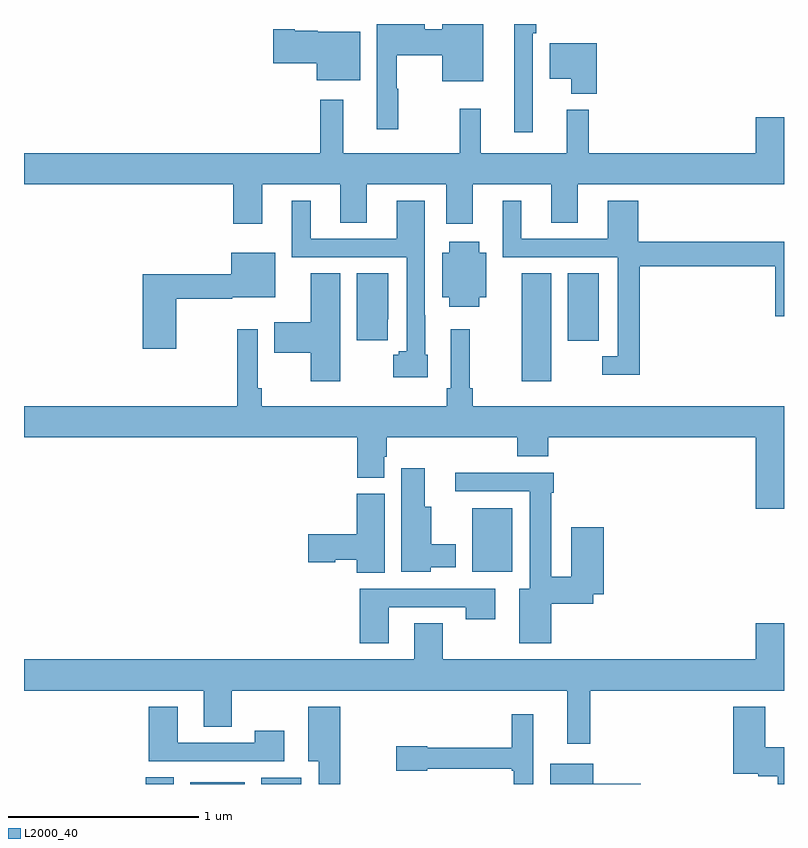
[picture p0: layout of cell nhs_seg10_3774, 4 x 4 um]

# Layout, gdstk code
import gdstk
lib = gdstk.Library(unit=1e-6, precision=1e-09)
def R(c, l, rs):  # rectangles x0, y0, x1, y1
    for r in rs: c.add(gdstk.rectangle(r[:2], r[2:], *l))
def P(c, l, *ps):  # polygons
    for p in ps: c.add(gdstk.Polygon(p, *l))
L2000_40 = (2000, 40)

nhs_seg10_3774 = lib.new_cell('nhs_seg10_3774')
R(nhs_seg10_3774, L2000_40, [(317.642,1290.5,317.788,1290.536), (317.876,1290.5,318.163,1290.508), (318.248,1290.5,318.46,1290.532), (319.358,1291.616,319.57,1291.951), (319.619,1292.619,319.774,1293.188), (319.862,1292.832,320.026,1293.188)])
P(nhs_seg10_3774, L2000_40, [(318.971,1294.158),(318.961,1294.158),(318.961,1294.336),(319.202,1294.336),(319.202,1294.199),(319.417,1294.199),(319.417,1294.5),(319.202,1294.5),(319.202,1294.472),(319.108,1294.472),(319.108,1294.5),(318.857,1294.5),(318.857,1293.945),(318.971,1293.945)],
  [(319.677,1294.451),(319.697,1294.451),(319.697,1294.5),(319.58,1294.5),(319.58,1293.93),(319.677,1293.93)],
  [(318.769,1294.459),(318.546,1294.459),(318.546,1294.465),(318.424,1294.465),(318.424,1294.472),(318.312,1294.472),(318.312,1294.294),(318.542,1294.294),(318.542,1294.205),(318.769,1294.205)],
  [(320.015,1294.399),(319.766,1294.399),(319.766,1294.211),(319.88,1294.211),(319.88,1294.133),(320.015,1294.133)],
  [(318.253,1293.656),(318.665,1293.656),(318.665,1293.454),(318.805,1293.454),(318.805,1293.656),(319.223,1293.656),(319.223,1293.45),(319.363,1293.45),(319.363,1293.656),(319.775,1293.656),(319.775,1293.454),(319.915,1293.454),(319.915,1293.656),(321,1293.656),(321,1294.009),(320.852,1294.009),(320.852,1293.82),(319.973,1293.82),(319.973,1294.048),(319.856,1294.048),(319.856,1293.82),(319.403,1293.82),(319.403,1294.054),(319.293,1294.054),(319.293,1293.82),(318.679,1293.82),(318.679,1294.102),(318.558,1294.102),(318.558,1293.82),(317,1293.82),(317,1293.656),(318.101,1293.656),(318.101,1293.45),(318.253,1293.45)],
  [(320.24,1293.226),(320.954,1293.226),(320.954,1292.961),(321,1292.961),(321,1293.355),(320.234,1293.355),(320.234,1293.571),(320.072,1293.571),(320.072,1293.369),(319.618,1293.369),(319.618,1293.571),(319.52,1293.571),(319.52,1293.273),(320.124,1293.273),(320.124,1292.751),(320.043,1292.751),(320.043,1292.654),(320.24,1292.654)],
  [(319.126,1292.76),(319.111,1292.76),(319.111,1292.966),(319.11,1292.966),(319.11,1293.571),(318.962,1293.571),(318.962,1293.369),(318.508,1293.369),(318.508,1293.571),(318.41,1293.571),(318.41,1293.273),(319.014,1293.273),(319.014,1292.778),(318.972,1292.778),(318.972,1292.759),(318.943,1292.759),(318.943,1292.642),(319.126,1292.642)],
  [(319.396,1293.062),(319.432,1293.062),(319.432,1293.295),(319.396,1293.295),(319.396,1293.355),(319.238,1293.355),(319.238,1293.295),(319.202,1293.295),(319.202,1293.062),(319.238,1293.062),(319.238,1293.011),(319.396,1293.011)],
  [(317.802,1293.055),(318.096,1293.055),(318.096,1293.062),(318.322,1293.062),(318.322,1293.295),(318.092,1293.295),(318.092,1293.184),(317.624,1293.184),(317.624,1292.79),(317.802,1292.79)],
  [(318.664,1293.188),(318.509,1293.188),(318.509,1292.929),(318.316,1292.929),(318.316,1292.771),(318.509,1292.771),(318.509,1292.619),(318.664,1292.619)],
  [(318.914,1292.947),(318.916,1292.947),(318.916,1293.188),(318.752,1293.188),(318.752,1292.835),(318.914,1292.835)],
  [(319.346,1292.584),(319.346,1292.893),(319.245,1292.893),(319.245,1292.584),(319.225,1292.584),(319.225,1292.488),(318.251,1292.488),(318.251,1292.584),(318.231,1292.584),(318.231,1292.893),(318.123,1292.893),(318.123,1292.488),(317,1292.488),(317,1292.324),(318.755,1292.324),(318.755,1292.113),(318.895,1292.113),(318.895,1292.223),(318.908,1292.223),(318.908,1292.324),(319.595,1292.324),(319.595,1292.225),(319.76,1292.225),(319.76,1292.324),(320.852,1292.324),(320.852,1291.95),(321,1291.95),(321,1292.488),(319.361,1292.488),(319.361,1292.584)],
  [(319.14,1291.64),(319.273,1291.64),(319.273,1291.762),(319.144,1291.762),(319.144,1291.96),(319.108,1291.96),(319.108,1292.161),(318.986,1292.161),(318.986,1291.616),(319.14,1291.616)],
  [(319.774,1291.45),(319.996,1291.45),(319.996,1291.499),(320.051,1291.499),(320.051,1291.852),(319.88,1291.852),(319.88,1291.592),(319.774,1291.592),(319.774,1292.033),(319.787,1292.033),(319.787,1292.138),(319.269,1292.138),(319.269,1292.04),(319.661,1292.04),(319.661,1291.528),(319.607,1291.528),(319.607,1291.242),(319.774,1291.242)],
  [(318.898,1292.028),(318.752,1292.028),(318.752,1291.814),(318.495,1291.814),(318.495,1291.667),(318.638,1291.667),(318.638,1291.679),(318.752,1291.679),(318.752,1291.612),(318.898,1291.612)],
  [(318.919,1291.431),(319.324,1291.431),(319.324,1291.368),(319.48,1291.368),(319.48,1291.527),(318.767,1291.527),(318.767,1291.242),(318.919,1291.242)],
  [(319.981,1290.992),(321,1290.992),(321,1291.345),(320.852,1291.345),(320.852,1291.156),(319.203,1291.156),(319.203,1291.346),(319.055,1291.346),(319.055,1291.156),(317,1291.156),(317,1290.992),(317.945,1290.992),(317.945,1290.802),(318.093,1290.802),(318.093,1290.992),(319.859,1290.992),(319.859,1290.711),(319.981,1290.711)],
  [(321,1290.694),(320.902,1290.694),(320.902,1290.907),(320.732,1290.907),(320.732,1290.554),(320.865,1290.554),(320.865,1290.542),(320.966,1290.542),(320.966,1290.5),(321,1290.5)],
  [(318.37,1290.781),(318.214,1290.781),(318.214,1290.717),(317.809,1290.717),(317.809,1290.907),(317.657,1290.907),(317.657,1290.621),(318.37,1290.621)],
  [(318.664,1290.907),(318.497,1290.907),(318.497,1290.62),(318.551,1290.62),(318.551,1290.5),(318.664,1290.5)],
  [(319.681,1290.868),(319.567,1290.868),(319.567,1290.691),(319.122,1290.691),(319.122,1290.699),(318.96,1290.699),(318.96,1290.569),(319.122,1290.569),(319.122,1290.581),(319.567,1290.581),(319.567,1290.57),(319.577,1290.57),(319.577,1290.5),(319.681,1290.5)],
  [(320.245,1290.501),(319.996,1290.501),(319.996,1290.607),(319.769,1290.607),(319.769,1290.5),(320.245,1290.5)])

lib.write_gds('nhs_seg10_3774.gds')
